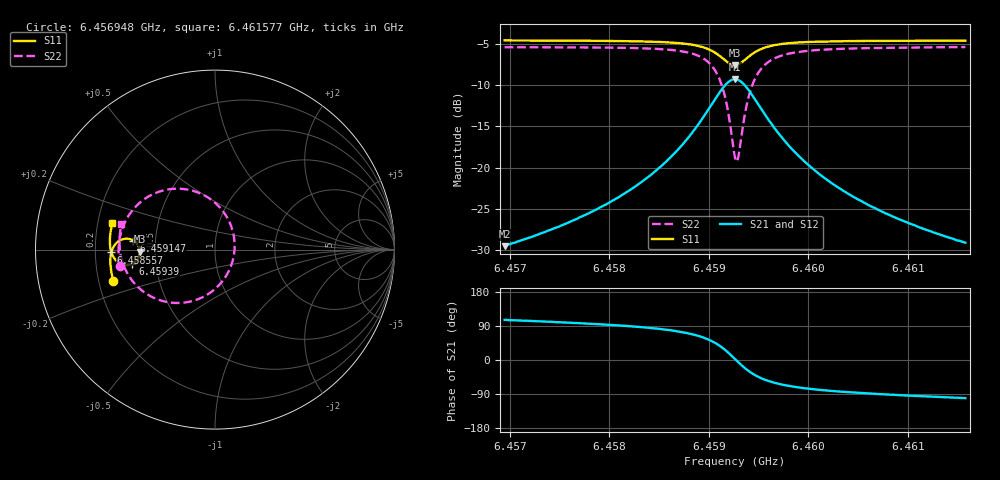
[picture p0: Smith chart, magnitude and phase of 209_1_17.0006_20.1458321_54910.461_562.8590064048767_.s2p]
#  HZ  S  RI  R  50.00
! Rohde & Schwarz Vector Network Analyzer
! Rohde-Schwarz,ZNB20-2Port,1311601062101988,3.16
! Created: UTC 3/20/2024, 11:01:23 PM
! freq[Hz]  re:S11  im:S11  re:S21  im:S21  re:S12  im:S12  re:S22  im:S22
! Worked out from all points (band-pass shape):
!   401 points, 6.456948 GHz to 6.461577 GHz, reference 50 ohm
!   highest |S21| = -9.26 dB at 6.459262 GHz (marker M1); lowest = -29.5 dB at 6.456948 GHz (marker M2)
!   |S21| within 3 dB of the highest: 6.459031 GHz to 6.459493 GHz (462.2 kHz wide, 0.00716 % of centre)
!   lowest |S11| = -7.6 dB at 6.459262 GHz (marker M3), VSWR 2.44, Z = 20.5 - j0.611 ohm
!   |S11| at or under -10 dB: nowhere
!   |S22| runs from -19.2 to -5.4 dB; largest |S21 - S12| = 0.013
!   S11 on the Smith chart (normalised r, x): 6.456948 GHz: 0.26, -0.14; 6.458557 GHz: 0.27, -0.01; 6.459147 GHz: 0.37, +0.05; 6.45939 GHz: 0.37, -0.07; 6.461577 GHz: 0.26, +0.12
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6.4569483e9  -0.5656 -0.1756  -0.00907 0.0321  -0.00742 0.0322  -0.531 -0.0905
6.4577235e9  -0.5801 -0.108  -0.00599 0.0501  -0.00344 0.0495  -0.5373 -8.05e-05
6.4581169e9  -0.5831 -0.0689  -0.000925 0.0675  0.00236 0.0663  -0.531 0.0612
6.4584988e9  -0.5796 -0.0238  0.0134 0.0984  0.0175 0.0958  -0.5052 0.1453
6.4585566e9  -0.578 -0.0159  0.0178 0.1052  0.0218 0.1023  -0.4971 0.1619
6.4587649e9  -0.565 0.0164  0.045 0.1378  0.0491 0.1328  -0.4462 0.2349
6.4589153e9  -0.5426 0.0428  0.09 0.1685  0.0933 0.1617  -0.3636 0.2997
6.4590542e9  -0.499 0.0606  0.1769 0.1852  0.1779 0.1781  -0.2048 0.3393
6.4591467e9  -0.4544 0.0505  0.2667 0.1546  0.2669 0.1487  -0.0385 0.2901
6.4592162e9  -0.4253 0.0187  0.3274 0.083  0.3295 0.0777  0.077 0.1615
6.4592624e9  -0.4184 -0.0123  0.3438 0.0152  0.3474 0.00851  0.1094 0.035
6.459274e9  -0.4188 -0.0203  0.3436 -0.00235  0.3475 -0.00988  0.1091 0.00157
6.4592972e9  -0.4224 -0.0358  0.3381 -0.0369  0.342 -0.046  0.0981 -0.064
6.4593434e9  -0.4379 -0.0619  0.3099 -0.0966  0.3121 -0.1085  0.0409 -0.1766
6.4593897e9  -0.46 -0.0781  0.268 -0.1376  0.2672 -0.1506  -0.0434 -0.2513
6.4594823e9  -0.503 -0.0848  0.1838 -0.1687  0.1778 -0.1802  -0.2109 -0.2974
6.4596327e9  -0.5468 -0.0644  0.0964 -0.1554  0.0881 -0.1614  -0.3775 -0.249
6.4598063e9  -0.5692 -0.035  0.0494 -0.1258  0.0421 -0.1285  -0.4616 -0.173
6.4600377e9  -0.5811 -0.0013  0.0226 -0.0966  0.0169 -0.0971  -0.5061 -0.0958
6.4603964e9  -0.5857 0.041  0.00624 -0.0692  0.00222 -0.0689  -0.5282 -0.0147
6.460813e9  -0.5838 0.0828  -0.00125 -0.0516  -0.00406 -0.0508  -0.5322 0.0514
6.4615766e9  -0.5717 0.1502  -0.00644 -0.0344  -0.00809 -0.0335  -0.5212 0.1413
